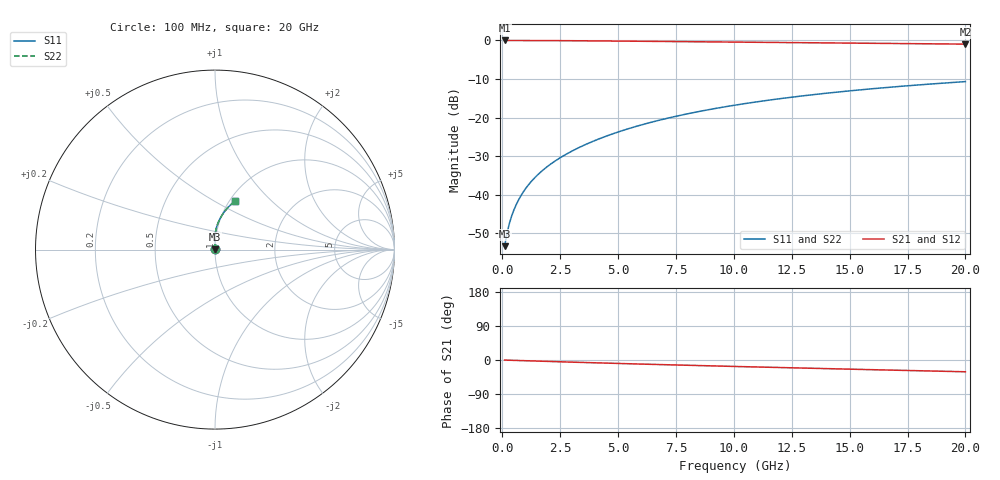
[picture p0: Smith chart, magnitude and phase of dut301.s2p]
! Touchstone file exported from HFSS 2024.1.0
!  File:  C:/UserFiles/LocalFiles/RDL_TSV_Batchsim/temp_RDL_top_301_1779606199.aedt
!  Generated:  03:06:05 PM May 24, 2026
!  Design:  RDL_top
!  Project:  temp_RDL_top_301_1779606199
!  Setup:  Setup1
!  Solution:  Sweep
! Variables:
!  dtsv = 10.80580581um
!  hbump = 3um
!  htsv = 63.64um
!  ldown = 100um
!  lrdl = 419.11um
!  p = 40
!  p1 = 58.51um
!  rhole = 1um
!  t = 450um
!  tdown = 3.915915916um
!  trdl = 3.61um
!  wdown = 15.38538539um
!  wrdl = 28.17um
# GHz S MA R 50.000000
! Terminal data exported
! Port[1] = Box2_T1
! Port[2] = Box2_T2
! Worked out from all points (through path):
!   200 points, 100 MHz to 20 GHz, reference 50 ohm
!   highest |S21| = -0.01 dB at 100 MHz (marker M1); lowest = -1.0 dB at 20 GHz (marker M2)
!   group delay of S21, straight-line fit = 4.25 ps
!   lowest |S11| = -53.3 dB at 100 MHz (marker M3), VSWR 1.00, Z = 50.2 + j0.132 ohm
!   |S11| at or under -10 dB: start of sweep to end of sweep
!   |S22| runs from -53.3 to -10.7 dB; largest |S21 - S12| = 4.4e-15
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0.1  0.002151 37.7  0.9983 -0.2  0.9983 -0.2  0.002151 37.7
! Gamma 0 0 0 0
! Port Impedance 50 0 50 0
0.2  0.003127 54.7  0.9981 -0.4  0.9981 -0.4  0.003127 54.7
0.3  0.004179 63.1  0.998 -0.6  0.998 -0.6  0.004179 63.1
0.4  0.005244 68.3  0.9978 -0.8  0.9978 -0.8  0.005244 68.3
0.5  0.006323 71.9  0.9977 -1.0  0.9977 -1.0  0.006323 71.9
0.6  0.007417 74.7  0.9976 -1.2  0.9976 -1.2  0.007417 74.7
0.8  0.009645 78.5  0.9973 -1.5  0.9973 -1.5  0.009645 78.5
1.1  0.01307 82.2  0.9967 -2.1  0.9967 -2.1  0.01307 82.2
1.5  0.01777 85.1  0.9958 -2.9  0.9958 -2.9  0.01777 85.1
2.1  0.02507 87.6  0.994 -4.0  0.994 -4.0  0.02507 87.6
2.7  0.03269 89.1  0.9918 -5.1  0.9918 -5.1  0.03269 89.1
3.5  0.04339 90.2  0.9881 -6.5  0.9881 -6.5  0.04339 90.2
4.2  0.05322 90.5  0.9846 -7.8  0.9846 -7.8  0.05322 90.5
5  0.06494 90.4  0.9802 -9.1  0.9802 -9.1  0.06494 90.4
5.9  0.07863 89.8  0.975 -10.6  0.975 -10.6  0.07862 89.8
6.8  0.09271 88.8  0.9697 -12.1  0.9697 -12.1  0.09269 88.8
8.4  0.1183 86.6  0.9603 -14.6  0.9603 -14.6  0.1182 86.6
10.1  0.1456 83.9  0.9505 -17.1  0.9505 -17.1  0.1456 83.9
11.7  0.1711 81.2  0.9415 -19.5  0.9415 -19.5  0.171 81.2
13.4  0.1976 78.3  0.932 -21.9  0.932 -21.9  0.1975 78.2
16.7  0.2467 72.7  0.9136 -26.6  0.9136 -26.6  0.2466 72.7
20  0.2923 67.5  0.895 -31.1  0.895 -31.1  0.2922 67.5
